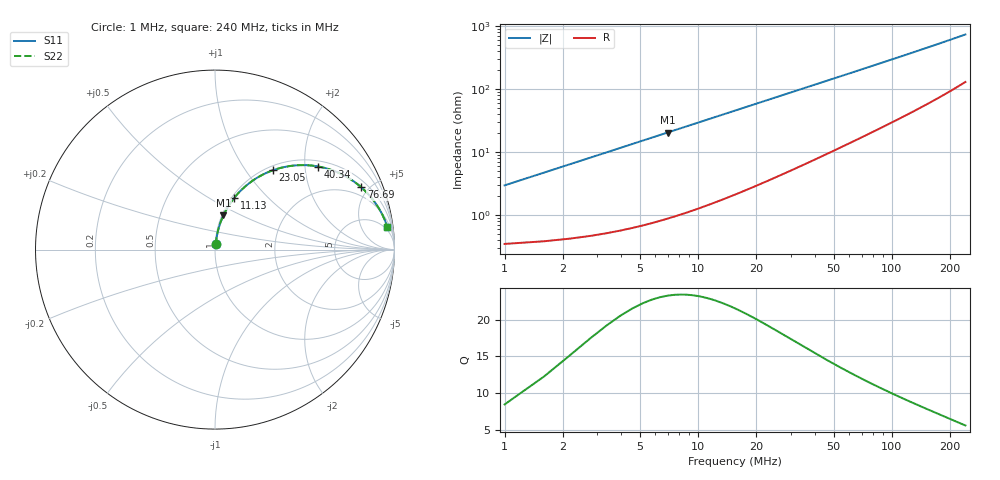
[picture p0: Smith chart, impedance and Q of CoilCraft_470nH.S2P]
! Coilcraft 0805LS-471 Chip Inductor
! 18 September 2002
# MHZ S MA R 50
!Freq  MagS11  AngS11  MagS21  AngS21  MagS12  AngS12  MagS22  AngS22
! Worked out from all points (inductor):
!   403 points, 1 MHz to 240 MHz, reference 50 ohm
!   read as one part in series: L = 465 nH near 2.192 MHz
!   highest Q = 23.3 at 6.96 MHz (marker M1), where L = 465 nH
!   S11 on the Smith chart (normalised r, x): 1 MHz: 1.01, +0.06; 11.13 MHz: 1.03, +0.65; 23.05 MHz: 1.07, +1.34; 40.34 MHz: 1.15, +2.35; 76.69 MHz: 1.39, +4.48; 240 MHz: 4, +14
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1  0.0293 81.6  0.9961 -1.7  0.9961 -1.7  0.0293 81.6
1.596  0.04654 82.7  0.9951 -2.7  0.9951 -2.7  0.04654 82.7
2.788  0.08091 82.1  0.9921 -4.6  0.9921 -4.6  0.08091 82.1
3.98  0.1149 80.6  0.9878 -6.6  0.9878 -6.6  0.1149 80.6
5.172  0.1485 78.9  0.9823 -8.5  0.9823 -8.5  0.1485 78.9
6.96  0.1977 76.2  0.9718 -11.4  0.9718 -11.4  0.1977 76.2
8.748  0.2451 73.4  0.9591 -14.2  0.9591 -14.2  0.2451 73.4
11.132  0.3054 69.7  0.939 -17.8  0.939 -17.8  0.3054 69.7
16.496  0.4263 62.1  0.8847 -25.2  0.8847 -25.2  0.4263 62.1
23.052  0.5455 54.0  0.8102 -33.0  0.8102 -33.0  0.5455 54.0
30.8  0.6503 46.2  0.7229 -40.5  0.7229 -40.5  0.6503 46.2
40.336  0.7393 38.8  0.6273 -47.5  0.6273 -47.5  0.7393 38.8
40.932  0.7437 38.4  0.6218 -47.9  0.6218 -47.9  0.7437 38.4
48.68  0.7924 33.7  0.5568 -52.2  0.5568 -52.2  0.7924 33.7
57.024  0.8304 29.8  0.4979 -55.9  0.4979 -55.9  0.8304 29.8
76.692  0.8855 23.1  0.394 -61.9  0.394 -61.9  0.8855 23.1
80.864  0.8933 22.0  0.3767 -62.8  0.3767 -62.8  0.8933 22.0
98.744  0.9179 18.3  0.3162 -66.0  0.3162 -66.0  0.9179 18.3
120.796  0.9363 15.1  0.2626 -68.5  0.2626 -68.5  0.9363 15.1
160.728  0.9542 11.4  0.1992 -71.1  0.1992 -71.1  0.9542 11.4
200.66  0.9632 9.0  0.1591 -72.2  0.1591 -72.2  0.9632 9.0
240  0.9683 7.5  0.1319 -72.4  0.1319 -72.4  0.9683 7.5
